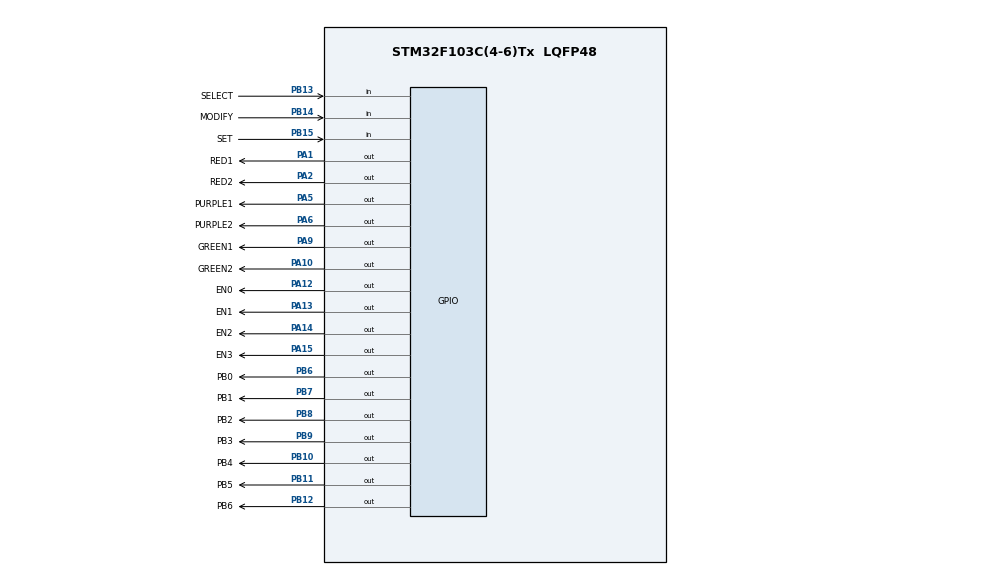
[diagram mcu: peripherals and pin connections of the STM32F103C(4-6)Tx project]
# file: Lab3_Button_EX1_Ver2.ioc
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Mcu.Family=STM32F1
Mcu.Name=STM32F103C(4-6)Tx
Mcu.Package=LQFP48
NVIC.PriorityGroup=NVIC_PRIORITYGROUP_4
NVIC.TIM2_IRQn=true\:0\:0\:false\:false\:true\:true\:true\:true
NVIC.TIM3_IRQn=true\:0\:0\:false\:false\:true\:true\:true\:true
PA1.GPIO_Label=RED1
PA1.Signal=GPIO_Output
PA10.GPIO_Label=GREEN2
PA10.Signal=GPIO_Output
PA12.GPIO_Label=EN0
PA12.Signal=GPIO_Output
PA13.GPIO_Label=EN1
PA13.Signal=GPIO_Output
PA14.GPIO_Label=EN2
PA14.Signal=GPIO_Output
PA15.GPIO_Label=EN3
PA15.Signal=GPIO_Output
PA2.GPIO_Label=RED2
PA2.Signal=GPIO_Output
PA5.GPIO_Label=PURPLE1
PA5.Signal=GPIO_Output
PA6.GPIO_Label=PURPLE2
PA6.Signal=GPIO_Output
PA9.GPIO_Label=GREEN1
PA9.Signal=GPIO_Output
PB10.GPIO_Label=PB4
PB10.Signal=GPIO_Output
PB11.GPIO_Label=PB5
PB11.Signal=GPIO_Output
PB12.GPIO_Label=PB6
PB12.Signal=GPIO_Output
PB13.GPIO_Label=SELECT
PB13.GPIO_PuPd=GPIO_PULLUP
PB13.Signal=GPIO_Input
PB14.GPIO_Label=MODIFY
PB14.GPIO_PuPd=GPIO_PULLUP
PB14.Signal=GPIO_Input
PB15.GPIO_Label=SET
PB15.GPIO_PuPd=GPIO_PULLUP
PB15.Signal=GPIO_Input
PB6.GPIO_Label=PB0
PB6.Signal=GPIO_Output
PB7.GPIO_Label=PB1
PB7.Signal=GPIO_Output
PB8.GPIO_Label=PB2
PB8.Signal=GPIO_Output
PB9.GPIO_Label=PB3
PB9.Signal=GPIO_Output
ProjectManager.HeapSize=0x200
ProjectManager.StackSize=0x400
ProjectManager.TargetToolchain=STM32CubeIDE
RCC.APB1Freq_Value=8000000
RCC.APB2Freq_Value=8000000
TIM2.Period=9
TIM2.Prescaler=7999
TIM3.Period=499
TIM3.Prescaler=7999
VP_SYS_VS_ND.Mode=No_Debug
VP_TIM2_VS_ClockSourceINT.Mode=Internal
VP_TIM3_VS_ClockSourceINT.Mode=Internal
board=custom

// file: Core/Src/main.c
/* USER CODE BEGIN Header */
/**
  ******************************************************************************
  * @file           : main.c
  * @brief          : Main program body
  ******************************************************************************
  * @attention
  *
  * Copyright (c) 2022 STMicroelectronics.
  * All rights reserved.
  *
  * This software is licensed under terms that can be found in the LICENSE file
  * in the root directory of this software component.
  * If no LICENSE file comes with this software, it is provided AS-IS.
  *
  ******************************************************************************
  */
/* USER CODE END Header */
#include "main.h"

/* USER CODE BEGIN Includes */
#include "software_timer.h"
#include "global.h"
#include "fsm_machine.h"
#include "seg7_display.h"
#include "button.h"
#include "button2.h"
#include "button3.h"
#include "fsm_change.h"
#include "schedule_function.h"
/* USER CODE END Includes */

TIM_HandleTypeDef htim2;
TIM_HandleTypeDef htim3;

void SystemClock_Config(void);
static void MX_GPIO_Init(void);
static void MX_TIM2_Init(void);
static void MX_TIM3_Init(void);

/* USER CODE BEGIN 0 */
							//Todo 1
void Toggle1(){
	HAL_GPIO_TogglePin(RED1_GPIO_Port, RED1_Pin);
}

							//tODO 2
void Toggle2(){
	HAL_GPIO_TogglePin(RED2_GPIO_Port, RED2_Pin);
}
//void (*ptr)() = Toggle;

/* USER CODE END 0 */

int main(void)
{

  /* MCU Configuration--------------------------------------------------------*/

  /* Reset of all peripherals, Initializes the Flash interface and the Systick. */
  HAL_Init();

  /* USER CODE BEGIN Init */
  // Initialize a schedule
  		 SCH_Init() ;
  	//Add a task to repeatedly call in every 1 second .

  		 SCH_Add_Task(Toggle1, 100 , 100) ;
  		 SCH_Add_Task(Toggle2, 300 , 100) ;
  /* USER CODE END Init */

  /* Configure the system clock */
  SystemClock_Config();

  /* Initialize all configured peripherals */
  MX_GPIO_Init();
  MX_TIM2_Init();
  MX_TIM3_Init();
  /* USER CODE BEGIN 2 */
HAL_TIM_Base_Start_IT(&htim2);
HAL_TIM_Base_Start_IT(&htim3);

  /* USER CODE END 2 */

  /* Infinite loop */
  /* USER CODE BEGIN WHILE */
start_SEG7();

//void Toggle(){
//	HAL_GPIO_TogglePin(RED1_GPIO_Port, RED1_Pin);
//}
//
//void (*ptr)();
//ptr = Toggle;
//OFF_ALL_LED1();
//OFF_ALL_LED2();
  while (1)
  {
	  SCH_Dispatch_Tasks();
//	  (*ptr)();
//	  Toggle();
//	  HAL_Delay(1000);

//	  to_do_7SEG();
//	  fsm_Suy_Exercise();

//Dispatcher function INIT
//	  SCH_Dispatch_Tasks();

    /* USER CODE END WHILE */

  }
}

void SystemClock_Config(void)
{
  RCC_OscInitTypeDef RCC_OscInitStruct = {0};
  RCC_ClkInitTypeDef RCC_ClkInitStruct = {0};

  /** Initializes the RCC Oscillators according to the specified parameters
  * in the RCC_OscInitTypeDef structure.
  */
  RCC_OscInitStruct.OscillatorType = RCC_OSCILLATORTYPE_HSI;
  RCC_OscInitStruct.HSIState = RCC_HSI_ON;
  RCC_OscInitStruct.HSICalibrationValue = RCC_HSICALIBRATION_DEFAULT;
  RCC_OscInitStruct.PLL.PLLState = RCC_PLL_NONE;
  if (HAL_RCC_OscConfig(&RCC_OscInitStruct) != HAL_OK)
  {
    Error_Handler();
  }

  /** Initializes the CPU, AHB and APB buses clocks
  */
  RCC_ClkInitStruct.ClockType = RCC_CLOCKTYPE_HCLK|RCC_CLOCKTYPE_SYSCLK
                              |RCC_CLOCKTYPE_PCLK1|RCC_CLOCKTYPE_PCLK2;
  RCC_ClkInitStruct.SYSCLKSource = RCC_SYSCLKSOURCE_HSI;
  RCC_ClkInitStruct.AHBCLKDivider = RCC_SYSCLK_DIV1;
  RCC_ClkInitStruct.APB1CLKDivider = RCC_HCLK_DIV1;
  RCC_ClkInitStruct.APB2CLKDivider = RCC_HCLK_DIV1;

  if (HAL_RCC_ClockConfig(&RCC_ClkInitStruct, FLASH_LATENCY_0) != HAL_OK)
  {
    Error_Handler();
  }
}

static void MX_TIM2_Init(void)
{

  TIM_ClockConfigTypeDef sClockSourceConfig = {0};
  TIM_MasterConfigTypeDef sMasterConfig = {0};

  htim2.Instance = TIM2;
  htim2.Init.Prescaler = 7999;
  htim2.Init.CounterMode = TIM_COUNTERMODE_UP;
  htim2.Init.Period = 9;
  htim2.Init.ClockDivision = TIM_CLOCKDIVISION_DIV1;
  htim2.Init.AutoReloadPreload = TIM_AUTORELOAD_PRELOAD_DISABLE;
  if (HAL_TIM_Base_Init(&htim2) != HAL_OK)
  {
    Error_Handler();
  }
  sClockSourceConfig.ClockSource = TIM_CLOCKSOURCE_INTERNAL;
  if (HAL_TIM_ConfigClockSource(&htim2, &sClockSourceConfig) != HAL_OK)
  {
    Error_Handler();
  }
  sMasterConfig.MasterOutputTrigger = TIM_TRGO_RESET;
  sMasterConfig.MasterSlaveMode = TIM_MASTERSLAVEMODE_DISABLE;
  if (HAL_TIMEx_MasterConfigSynchronization(&htim2, &sMasterConfig) != HAL_OK)
  {
    Error_Handler();
  }

}

static void MX_TIM3_Init(void)
{

  TIM_ClockConfigTypeDef sClockSourceConfig = {0};
  TIM_MasterConfigTypeDef sMasterConfig = {0};

  htim3.Instance = TIM3;
  htim3.Init.Prescaler = 7999;
  htim3.Init.CounterMode = TIM_COUNTERMODE_UP;
  htim3.Init.Period = 499;
  htim3.Init.ClockDivision = TIM_CLOCKDIVISION_DIV1;
  htim3.Init.AutoReloadPreload = TIM_AUTORELOAD_PRELOAD_DISABLE;
  if (HAL_TIM_Base_Init(&htim3) != HAL_OK)
  {
    Error_Handler();
  }
  sClockSourceConfig.ClockSource = TIM_CLOCKSOURCE_INTERNAL;
  if (HAL_TIM_ConfigClockSource(&htim3, &sClockSourceConfig) != HAL_OK)
  {
    Error_Handler();
  }
  sMasterConfig.MasterOutputTrigger = TIM_TRGO_RESET;
  sMasterConfig.MasterSlaveMode = TIM_MASTERSLAVEMODE_DISABLE;
  if (HAL_TIMEx_MasterConfigSynchronization(&htim3, &sMasterConfig) != HAL_OK)
  {
    Error_Handler();
  }

}

static void MX_GPIO_Init(void)
{
  GPIO_InitTypeDef GPIO_InitStruct = {0};

  /* GPIO Ports Clock Enable */
  __HAL_RCC_GPIOA_CLK_ENABLE();
  __HAL_RCC_GPIOB_CLK_ENABLE();

  /*Configure GPIO pin Output Level */
  HAL_GPIO_WritePin(GPIOA, RED1_Pin|RED2_Pin|PURPLE1_Pin|PURPLE2_Pin
                          |GREEN1_Pin|GREEN2_Pin|EN0_Pin|EN1_Pin
                          |EN2_Pin|EN3_Pin, GPIO_PIN_RESET);

  /*Configure GPIO pin Output Level */
  HAL_GPIO_WritePin(GPIOB, PB4_Pin|PB5_Pin|PB6_Pin|PB0_Pin
                          |PB1_Pin|PB2_Pin|PB3_Pin, GPIO_PIN_RESET);

  /*Configure GPIO pins : RED1_Pin RED2_Pin PURPLE1_Pin PURPLE2_Pin
                           GREEN1_Pin GREEN2_Pin EN0_Pin EN1_Pin
                           EN2_Pin EN3_Pin */
  GPIO_InitStruct.Pin = RED1_Pin|RED2_Pin|PURPLE1_Pin|PURPLE2_Pin
                          |GREEN1_Pin|GREEN2_Pin|EN0_Pin|EN1_Pin
                          |EN2_Pin|EN3_Pin;
  GPIO_InitStruct.Mode = GPIO_MODE_OUTPUT_PP;
  GPIO_InitStruct.Pull = GPIO_NOPULL;
  GPIO_InitStruct.Speed = GPIO_SPEED_FREQ_LOW;
  HAL_GPIO_Init(GPIOA, &GPIO_InitStruct);

  /*Configure GPIO pins : PB4_Pin PB5_Pin PB6_Pin PB0_Pin
                           PB1_Pin PB2_Pin PB3_Pin */
  GPIO_InitStruct.Pin = PB4_Pin|PB5_Pin|PB6_Pin|PB0_Pin
                          |PB1_Pin|PB2_Pin|PB3_Pin;
  GPIO_InitStruct.Mode = GPIO_MODE_OUTPUT_PP;
  GPIO_InitStruct.Pull = GPIO_NOPULL;
  GPIO_InitStruct.Speed = GPIO_SPEED_FREQ_LOW;
  HAL_GPIO_Init(GPIOB, &GPIO_InitStruct);

  /*Configure GPIO pins : SELECT_Pin MODIFY_Pin SET_Pin */
  GPIO_InitStruct.Pin = SELECT_Pin|MODIFY_Pin|SET_Pin;
  GPIO_InitStruct.Mode = GPIO_MODE_INPUT;
  GPIO_InitStruct.Pull = GPIO_PULLUP;
  HAL_GPIO_Init(GPIOB, &GPIO_InitStruct);

}

/* USER CODE BEGIN 4 */
void HAL_TIM_PeriodElapsedCallback(TIM_HandleTypeDef *htim2){
	timerRun();
//	timerRun_7seg();
//	getKeyInput();
	get_key_Input();
	get_key_Input2();
	get_key_Input3();
	SCH_Update();
}
/* USER CODE END 4 */

void Error_Handler(void)
{
  __disable_irq();
  while (1)
  {
  }
}
